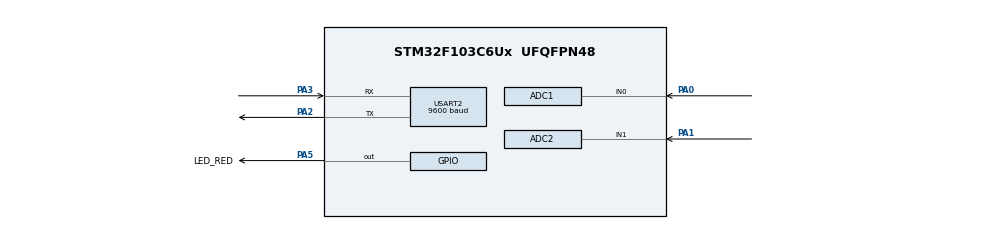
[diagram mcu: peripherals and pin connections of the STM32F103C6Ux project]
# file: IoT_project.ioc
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ADC1.Channel-0\#ChannelRegularConversion=ADC_CHANNEL_0
ADC1.ContinuousConvMode=ENABLE
ADC1.NbrOfConversionFlag=1
ADC1.Rank-0\#ChannelRegularConversion=1
ADC1.SamplingTime-0\#ChannelRegularConversion=ADC_SAMPLETIME_1CYCLE_5
ADC1.master=1
ADC2.Channel-0\#ChannelRegularConversion=ADC_CHANNEL_1
ADC2.ContinuousConvMode=ENABLE
ADC2.NbrOfConversionFlag=1
ADC2.Rank-0\#ChannelRegularConversion=1
ADC2.SamplingTime-0\#ChannelRegularConversion=ADC_SAMPLETIME_1CYCLE_5
Mcu.Family=STM32F1
Mcu.Name=STM32F103C6Ux
Mcu.Package=UFQFPN48
NVIC.PriorityGroup=NVIC_PRIORITYGROUP_4
NVIC.TIM2_IRQn=true\:0\:0\:false\:false\:true\:true\:true
NVIC.USART2_IRQn=true\:0\:0\:false\:false\:true\:true\:true
PA0-WKUP.Signal=ADCx_IN0
PA1.Signal=ADCx_IN1
PA2.Mode=Asynchronous
PA2.Signal=USART2_TX
PA3.Mode=Asynchronous
PA3.Signal=USART2_RX
PA5.GPIO_Label=LED_RED
PA5.Signal=GPIO_Output
ProjectManager.HeapSize=0x200
ProjectManager.StackSize=0x400
ProjectManager.TargetToolchain=STM32CubeIDE
RCC.APB1Freq_Value=8000000
RCC.APB2Freq_Value=8000000
SH.ADCx_IN0.0=ADC1_IN0,IN0
SH.ADCx_IN1.0=ADC2_IN1,IN1
TIM2.Period=9
TIM2.Prescaler=7999
USART2.BaudRate=9600
USART2.VirtualMode=VM_ASYNC
VP_SYS_VS_ND.Mode=No_Debug
VP_TIM2_VS_ClockSourceINT.Mode=Internal
board=custom

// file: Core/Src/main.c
/* USER CODE BEGIN Header */
/**
  ******************************************************************************
  * @file           : main.c
  * @brief          : Main program body
  ******************************************************************************
  * @attention
  *
  * <h2><center>&copy; Copyright (c) 2022 STMicroelectronics.
  * All rights reserved.</center></h2>
  *
  * This software component is licensed by ST under BSD 3-Clause license,
  * the "License"; You may not use this file except in compliance with the
  * License. You may obtain a copy of the License at:
  *                        opensource.org/licenses/BSD-3-Clause
  *
  ******************************************************************************
  */
/* USER CODE END Header */
#include "main.h"

/* USER CODE BEGIN Includes */
#include "fsm.h"
#include "timer.h"
/* USER CODE END Includes */

/* USER CODE BEGIN PD */
#define TEMP 0
/* USER CODE END PD */

ADC_HandleTypeDef hadc1;
ADC_HandleTypeDef hadc2;

TIM_HandleTypeDef htim2;

UART_HandleTypeDef huart2;

void SystemClock_Config(void);
static void MX_GPIO_Init(void);
static void MX_ADC1_Init(void);
static void MX_USART2_UART_Init(void);
static void MX_TIM2_Init(void);
static void MX_ADC2_Init(void);

/* USER CODE BEGIN 0 */
//index_buffer = 0;
char writeStr[10];
void HAL_UART_RxCpltCallback(UART_HandleTypeDef *huart)
{
	if (huart->Instance == USART2)
	{
		//HAL_UART_Transmit(&huart2, &temp, 1, 50);

		buffer[index_buffer] = temp;
		index_buffer++;
		//if (temp == '!' || temp == '#')
		//HAL_UART_Transmit(&huart2, &temp, 1, 500);
		receive_flag++;
		HAL_UART_Transmit(&huart2, writeStr, sprintf(writeStr, "%d", index_buffer), 1000);
		if (index_buffer == MAX_BUFFER_SIZE) index_buffer = 0;
		HAL_UART_Receive_IT(&huart2, &temp, 1);

		//HAL_GPIO_TogglePin(LED_RED_GPIO_Port, LED_RED_Pin);
	}
}

/* USER CODE END 0 */

int main(void)
{

  /* MCU Configuration--------------------------------------------------------*/

  /* Reset of all peripherals, Initializes the Flash interface and the Systick. */
  HAL_Init();

  /* Configure the system clock */
  SystemClock_Config();

  /* Initialize all configured peripherals */
  MX_GPIO_Init();
  MX_ADC1_Init();
  MX_USART2_UART_Init();
  MX_TIM2_Init();
  MX_ADC2_Init();
  /* USER CODE BEGIN 2 */

  HAL_UART_Receive_IT(&huart2, &temp, 1);
  HAL_TIM_Base_Start_IT(&htim2);
  /* USER CODE END 2 */

  /* Infinite loop */
  /* USER CODE BEGIN WHILE */
  //status =
  HAL_ADC_Start(&hadc1);
  HAL_ADC_Start(&hadc2);
  int write_counter = 10;
  //char str[50];
  HAL_UART_Transmit(&huart2, "HELLO", 5, 1000);
  while (1)
  {
    if (receive_flag > 0)
	{
		receive_flag--;
		command_parser_fsm(&huart2);

	}
	uart_communication_fsm(&huart2, &hadc1, &hadc2);
    /* USER CODE END WHILE */

  }
}

void SystemClock_Config(void)
{
  RCC_OscInitTypeDef RCC_OscInitStruct = {0};
  RCC_ClkInitTypeDef RCC_ClkInitStruct = {0};
  RCC_PeriphCLKInitTypeDef PeriphClkInit = {0};

  /** Initializes the RCC Oscillators according to the specified parameters
  * in the RCC_OscInitTypeDef structure.
  */
  RCC_OscInitStruct.OscillatorType = RCC_OSCILLATORTYPE_HSI;
  RCC_OscInitStruct.HSIState = RCC_HSI_ON;
  RCC_OscInitStruct.HSICalibrationValue = RCC_HSICALIBRATION_DEFAULT;
  RCC_OscInitStruct.PLL.PLLState = RCC_PLL_NONE;
  if (HAL_RCC_OscConfig(&RCC_OscInitStruct) != HAL_OK)
  {
    Error_Handler();
  }
  /** Initializes the CPU, AHB and APB buses clocks
  */
  RCC_ClkInitStruct.ClockType = RCC_CLOCKTYPE_HCLK|RCC_CLOCKTYPE_SYSCLK
                              |RCC_CLOCKTYPE_PCLK1|RCC_CLOCKTYPE_PCLK2;
  RCC_ClkInitStruct.SYSCLKSource = RCC_SYSCLKSOURCE_HSI;
  RCC_ClkInitStruct.AHBCLKDivider = RCC_SYSCLK_DIV1;
  RCC_ClkInitStruct.APB1CLKDivider = RCC_HCLK_DIV1;
  RCC_ClkInitStruct.APB2CLKDivider = RCC_HCLK_DIV1;

  if (HAL_RCC_ClockConfig(&RCC_ClkInitStruct, FLASH_LATENCY_0) != HAL_OK)
  {
    Error_Handler();
  }
  PeriphClkInit.PeriphClockSelection = RCC_PERIPHCLK_ADC;
  PeriphClkInit.AdcClockSelection = RCC_ADCPCLK2_DIV2;
  if (HAL_RCCEx_PeriphCLKConfig(&PeriphClkInit) != HAL_OK)
  {
    Error_Handler();
  }
}

static void MX_ADC1_Init(void)
{

  ADC_ChannelConfTypeDef sConfig = {0};

  /** Common config
  */
  hadc1.Instance = ADC1;
  hadc1.Init.ScanConvMode = ADC_SCAN_DISABLE;
  hadc1.Init.ContinuousConvMode = ENABLE;
  hadc1.Init.DiscontinuousConvMode = DISABLE;
  hadc1.Init.ExternalTrigConv = ADC_SOFTWARE_START;
  hadc1.Init.DataAlign = ADC_DATAALIGN_RIGHT;
  hadc1.Init.NbrOfConversion = 1;
  if (HAL_ADC_Init(&hadc1) != HAL_OK)
  {
    Error_Handler();
  }
  /** Configure Regular Channel
  */
  sConfig.Channel = ADC_CHANNEL_0;
  sConfig.Rank = ADC_REGULAR_RANK_1;
  sConfig.SamplingTime = ADC_SAMPLETIME_1CYCLE_5;
  if (HAL_ADC_ConfigChannel(&hadc1, &sConfig) != HAL_OK)
  {
    Error_Handler();
  }

}

static void MX_ADC2_Init(void)
{

  ADC_ChannelConfTypeDef sConfig = {0};

  /** Common config
  */
  hadc2.Instance = ADC2;
  hadc2.Init.ScanConvMode = ADC_SCAN_DISABLE;
  hadc2.Init.ContinuousConvMode = ENABLE;
  hadc2.Init.DiscontinuousConvMode = DISABLE;
  hadc2.Init.ExternalTrigConv = ADC_SOFTWARE_START;
  hadc2.Init.DataAlign = ADC_DATAALIGN_RIGHT;
  hadc2.Init.NbrOfConversion = 1;
  if (HAL_ADC_Init(&hadc2) != HAL_OK)
  {
    Error_Handler();
  }
  /** Configure Regular Channel
  */
  sConfig.Channel = ADC_CHANNEL_1;
  sConfig.Rank = ADC_REGULAR_RANK_1;
  sConfig.SamplingTime = ADC_SAMPLETIME_1CYCLE_5;
  if (HAL_ADC_ConfigChannel(&hadc2, &sConfig) != HAL_OK)
  {
    Error_Handler();
  }

}

static void MX_TIM2_Init(void)
{

  TIM_ClockConfigTypeDef sClockSourceConfig = {0};
  TIM_MasterConfigTypeDef sMasterConfig = {0};

  htim2.Instance = TIM2;
  htim2.Init.Prescaler = 7999;
  htim2.Init.CounterMode = TIM_COUNTERMODE_UP;
  htim2.Init.Period = 9;
  htim2.Init.ClockDivision = TIM_CLOCKDIVISION_DIV1;
  htim2.Init.AutoReloadPreload = TIM_AUTORELOAD_PRELOAD_DISABLE;
  if (HAL_TIM_Base_Init(&htim2) != HAL_OK)
  {
    Error_Handler();
  }
  sClockSourceConfig.ClockSource = TIM_CLOCKSOURCE_INTERNAL;
  if (HAL_TIM_ConfigClockSource(&htim2, &sClockSourceConfig) != HAL_OK)
  {
    Error_Handler();
  }
  sMasterConfig.MasterOutputTrigger = TIM_TRGO_RESET;
  sMasterConfig.MasterSlaveMode = TIM_MASTERSLAVEMODE_DISABLE;
  if (HAL_TIMEx_MasterConfigSynchronization(&htim2, &sMasterConfig) != HAL_OK)
  {
    Error_Handler();
  }

}

static void MX_USART2_UART_Init(void)
{

  huart2.Instance = USART2;
  huart2.Init.BaudRate = 9600;
  huart2.Init.WordLength = UART_WORDLENGTH_8B;
  huart2.Init.StopBits = UART_STOPBITS_1;
  huart2.Init.Parity = UART_PARITY_NONE;
  huart2.Init.Mode = UART_MODE_TX_RX;
  huart2.Init.HwFlowCtl = UART_HWCONTROL_NONE;
  huart2.Init.OverSampling = UART_OVERSAMPLING_16;
  if (HAL_UART_Init(&huart2) != HAL_OK)
  {
    Error_Handler();
  }

}

static void MX_GPIO_Init(void)
{
  GPIO_InitTypeDef GPIO_InitStruct = {0};

  /* GPIO Ports Clock Enable */
  __HAL_RCC_GPIOA_CLK_ENABLE();

  /*Configure GPIO pin Output Level */
  HAL_GPIO_WritePin(LED_RED_GPIO_Port, LED_RED_Pin, GPIO_PIN_RESET);

  /*Configure GPIO pin : LED_RED_Pin */
  GPIO_InitStruct.Pin = LED_RED_Pin;
  GPIO_InitStruct.Mode = GPIO_MODE_OUTPUT_PP;
  GPIO_InitStruct.Pull = GPIO_NOPULL;
  GPIO_InitStruct.Speed = GPIO_SPEED_FREQ_LOW;
  HAL_GPIO_Init(LED_RED_GPIO_Port, &GPIO_InitStruct);

}

/* USER CODE BEGIN 4 */
void HAL_TIM_PeriodElapsedCallback(TIM_HandleTypeDef* htim)
{
	timerRun();
}
/* USER CODE END 4 */

void Error_Handler(void)
{
  __disable_irq();
  while (1)
  {
  }
}

/************************ (C) COPYRIGHT STMicroelectronics *****END OF FILE****/
